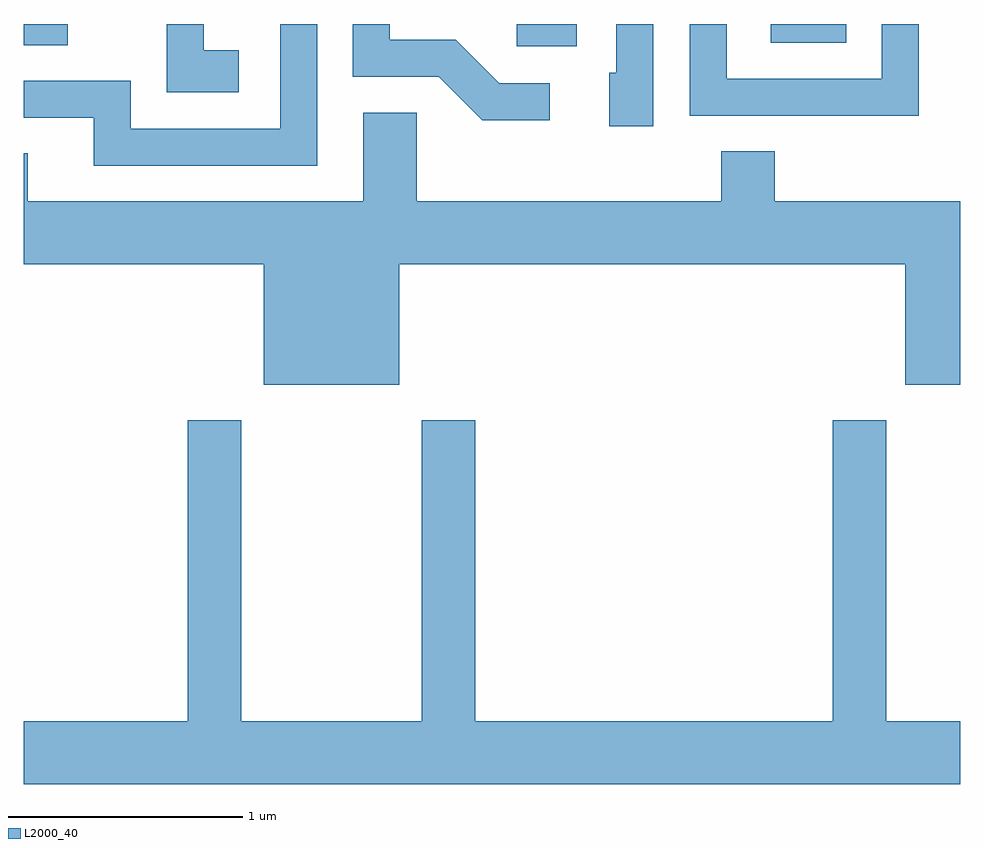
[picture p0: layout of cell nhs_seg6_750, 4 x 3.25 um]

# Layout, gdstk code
import gdstk
lib = gdstk.Library(unit=1e-6, precision=1e-09)
def R(c, l, rs):  # rectangles x0, y0, x1, y1
    for r in rs: c.add(gdstk.rectangle(r[:2], r[2:], *l))
def P(c, l, *ps):  # polygons
    for p in ps: c.add(gdstk.Polygon(p, *l))
L2000_40 = (2000, 40)

nhs_seg6_750 = lib.new_cell('nhs_seg6_750')
R(nhs_seg6_750, L2000_40, [(209.716,1562.066,209.974,1562.162), (207.611,1562.071,207.799,1562.162), (210.801,1562.081,211.124,1562.162)])
P(nhs_seg6_750, L2000_40, [(208.864,1562.162),(208.706,1562.162),(208.706,1561.714),(208.069,1561.714),(208.069,1561.919),(207.611,1561.919),(207.611,1561.761),(207.911,1561.761),(207.911,1561.556),(208.864,1561.556)],
  [(211.434,1562.162),(211.276,1562.162),(211.276,1561.929),(210.614,1561.929),(210.614,1562.162),(210.456,1562.162),(210.456,1561.771),(211.434,1561.771)],
  [(209.858,1561.909),(209.642,1561.909),(209.457,1562.094),(209.174,1562.094),(209.174,1562.162),(209.016,1562.162),(209.016,1561.936),(209.384,1561.936),(209.569,1561.751),(209.858,1561.751)],
  [(210.299,1562.162),(210.141,1562.162),(210.141,1561.954),(210.111,1561.954),(210.111,1561.726),(210.299,1561.726)],
  [(208.529,1562.049),(208.379,1562.049),(208.379,1562.162),(208.221,1562.162),(208.221,1561.871),(208.529,1561.871)],
  [(209.214,1561.136),(211.376,1561.136),(211.376,1560.621),(211.611,1560.621),(211.611,1561.404),(210.819,1561.404),(210.819,1561.619),(210.591,1561.619),(210.591,1561.404),(209.289,1561.404),(209.289,1561.784),(209.061,1561.784),(209.061,1561.404),(207.629,1561.404),(207.629,1561.609),(207.611,1561.609),(207.611,1561.136),(208.636,1561.136),(208.636,1560.621),(209.214,1560.621)],
  [(211.611,1559.184),(211.294,1559.184),(211.294,1560.469),(211.066,1560.469),(211.066,1559.184),(209.539,1559.184),(209.539,1560.469),(209.311,1560.469),(209.311,1559.184),(208.539,1559.184),(208.539,1560.469),(208.311,1560.469),(208.311,1559.184),(207.611,1559.184),(207.611,1558.916),(211.611,1558.916)])

lib.write_gds('nhs_seg6_750.gds')
